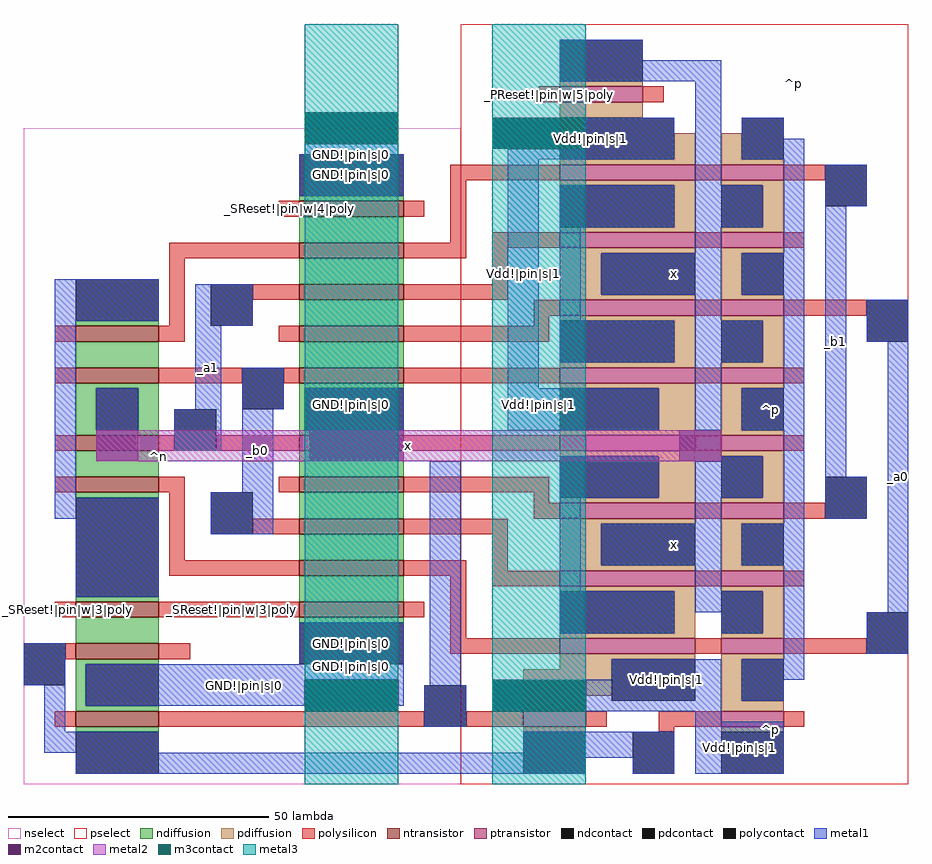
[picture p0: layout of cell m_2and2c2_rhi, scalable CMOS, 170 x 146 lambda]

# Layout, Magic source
magic
tech scmos
<< nselect >>
rect -81 29 3 155
<< pselect >>
rect 3 29 89 175
<< ndiffusion >>
rect -28 141 -8 142
rect -28 133 -8 138
rect -71 117 -55 118
rect -28 125 -8 130
rect -28 117 -8 122
rect -71 109 -55 114
rect -28 109 -8 114
rect -71 105 -55 106
rect -71 97 -67 105
rect -59 97 -55 105
rect -28 105 -8 106
rect -71 96 -55 97
rect -28 97 -27 105
rect -28 96 -8 97
rect -71 88 -55 93
rect -28 88 -8 93
rect -71 84 -55 85
rect -28 80 -8 85
rect -28 72 -8 77
rect -71 64 -55 65
rect -28 64 -8 69
rect -71 56 -55 61
rect -28 60 -8 61
rect -71 52 -55 53
rect -71 44 -69 52
rect -71 43 -55 44
rect -71 39 -55 40
<< pdiffusion >>
rect 22 163 38 164
rect 22 157 38 160
rect 44 149 48 154
rect 22 148 48 149
rect 53 149 57 154
rect 53 148 65 149
rect 22 144 48 145
rect 44 136 48 144
rect 22 135 48 136
rect 53 144 65 145
rect 61 136 65 144
rect 53 135 65 136
rect 22 131 48 132
rect 22 123 30 131
rect 22 122 48 123
rect 53 131 65 132
rect 53 123 57 131
rect 53 122 65 123
rect 22 118 48 119
rect 44 110 48 118
rect 22 109 48 110
rect 53 118 65 119
rect 61 110 65 118
rect 53 109 65 110
rect 22 105 48 106
rect 41 97 48 105
rect 22 96 48 97
rect 53 105 65 106
rect 53 97 57 105
rect 53 96 65 97
rect 22 92 48 93
rect 41 84 48 92
rect 22 83 48 84
rect 53 92 65 93
rect 61 84 65 92
rect 53 83 65 84
rect 22 79 48 80
rect 22 71 30 79
rect 22 70 48 71
rect 53 79 65 80
rect 53 71 57 79
rect 53 70 65 71
rect 22 66 48 67
rect 44 58 48 66
rect 22 57 48 58
rect 53 66 65 67
rect 61 58 65 66
rect 53 57 65 58
rect 22 53 48 54
rect 22 51 32 53
rect 15 46 32 51
rect 15 43 27 46
rect 53 53 65 54
rect 53 45 57 53
rect 53 43 65 45
rect 15 39 27 40
rect 53 39 65 40
<< ntransistor >>
rect -28 138 -8 141
rect -28 130 -8 133
rect -28 122 -8 125
rect -71 114 -55 117
rect -28 114 -8 117
rect -71 106 -55 109
rect -28 106 -8 109
rect -71 93 -55 96
rect -28 93 -8 96
rect -71 85 -55 88
rect -28 85 -8 88
rect -28 77 -8 80
rect -28 69 -8 72
rect -71 61 -55 64
rect -28 61 -8 64
rect -71 53 -55 56
rect -71 40 -55 43
<< ptransistor >>
rect 22 160 38 163
rect 22 145 48 148
rect 53 145 65 148
rect 22 132 48 135
rect 53 132 65 135
rect 22 119 48 122
rect 53 119 65 122
rect 22 106 48 109
rect 53 106 65 109
rect 22 93 48 96
rect 53 93 65 96
rect 22 80 48 83
rect 53 80 65 83
rect 22 67 48 70
rect 53 67 65 70
rect 22 54 48 57
rect 53 54 65 57
rect 15 40 27 43
rect 53 40 65 43
<< polysilicon >>
rect 18 160 22 163
rect 38 160 42 163
rect 1 145 22 148
rect 48 145 53 148
rect 65 145 73 148
rect -32 138 -28 141
rect -8 138 -4 141
rect 1 133 4 145
rect -53 130 -28 133
rect -8 130 4 133
rect 9 132 22 135
rect 48 132 53 135
rect 65 132 69 135
rect -53 117 -50 130
rect 9 125 12 132
rect -37 122 -28 125
rect -8 122 12 125
rect 17 119 22 122
rect 48 119 53 122
rect 65 119 81 122
rect 17 117 20 119
rect -75 114 -71 117
rect -55 114 -50 117
rect -32 114 -28 117
rect -8 114 20 117
rect -75 106 -71 109
rect -55 106 -39 109
rect -31 106 -28 109
rect -8 106 22 109
rect 48 106 53 109
rect 65 106 69 109
rect -75 93 -71 96
rect -55 93 -52 96
rect -44 93 -28 96
rect -8 93 22 96
rect 48 93 53 96
rect 65 93 69 96
rect -75 85 -71 88
rect -55 85 -50 88
rect -32 85 -28 88
rect -8 85 20 88
rect -53 72 -50 85
rect 17 83 20 85
rect 17 80 22 83
rect 48 80 53 83
rect 65 80 73 83
rect -37 77 -28 80
rect -8 77 12 80
rect -53 69 -28 72
rect -8 69 4 72
rect -75 61 -71 64
rect -55 61 -28 64
rect -8 61 -4 64
rect -73 53 -71 56
rect -55 53 -49 56
rect 1 57 4 69
rect 9 70 12 77
rect 9 67 22 70
rect 48 67 53 70
rect 65 67 69 70
rect 1 54 22 57
rect 48 54 53 57
rect 65 54 81 57
rect -75 40 -71 43
rect -55 40 -4 43
rect 4 40 15 43
rect 27 40 31 43
rect 41 40 53 43
rect 65 40 69 43
rect 41 39 44 40
<< ndcontact >>
rect -28 142 -8 150
rect -71 118 -55 126
rect -67 97 -59 105
rect -27 97 -8 105
rect -71 65 -55 84
rect -28 52 -8 60
rect -69 44 -55 52
rect -71 31 -55 39
<< pdcontact >>
rect 22 164 38 172
rect 22 149 44 157
rect 57 149 65 157
rect 22 136 44 144
rect 53 136 61 144
rect 30 123 48 131
rect 57 123 65 131
rect 22 110 44 118
rect 53 110 61 118
rect 22 97 41 105
rect 57 97 65 105
rect 22 84 41 92
rect 53 84 61 92
rect 30 71 48 79
rect 57 71 65 79
rect 22 58 44 66
rect 53 58 61 66
rect 32 45 48 53
rect 57 45 65 53
rect 15 31 27 39
rect 53 31 65 39
<< polycontact >>
rect 73 140 81 148
rect -45 117 -37 125
rect 81 114 89 122
rect -39 101 -31 109
rect -52 93 -44 101
rect -45 77 -37 85
rect 73 80 81 88
rect -81 48 -73 56
rect 81 54 89 62
rect -4 40 4 48
rect 36 31 44 39
<< metal1 >>
rect 22 168 38 172
rect 22 164 53 168
rect -27 150 -9 152
rect 27 151 44 157
rect -28 142 -8 150
rect 12 149 44 151
rect -75 118 -55 126
rect -75 84 -71 118
rect -48 117 -37 125
rect -67 97 -59 105
rect -48 101 -43 117
rect -52 93 -43 101
rect -39 101 -31 109
rect 12 105 18 149
rect 48 144 53 164
rect 57 153 65 157
rect 57 149 69 153
rect 22 136 44 144
rect 48 136 61 144
rect 22 118 26 136
rect 48 131 53 136
rect 65 131 69 149
rect 30 123 53 131
rect 57 123 69 131
rect 48 118 53 123
rect 22 110 44 118
rect 48 110 61 118
rect -39 85 -33 101
rect -27 97 -8 105
rect 12 97 41 105
rect 48 97 53 110
rect 65 105 69 123
rect 57 97 69 105
rect -75 80 -55 84
rect -71 65 -55 80
rect -45 77 -33 85
rect -81 48 -73 56
rect -28 52 -8 60
rect -77 39 -73 48
rect -69 49 -8 52
rect -69 44 -27 49
rect -9 44 -8 49
rect -3 48 3 91
rect 22 84 41 92
rect 53 91 61 92
rect 48 84 61 91
rect 22 66 26 84
rect 48 79 53 84
rect 65 79 69 97
rect 73 140 81 148
rect 73 88 77 140
rect 81 114 89 122
rect 73 80 81 88
rect 30 71 53 79
rect 57 71 69 79
rect 48 66 53 71
rect 22 58 44 66
rect 48 62 61 66
rect 53 58 61 62
rect 65 53 69 71
rect 85 62 89 114
rect 81 54 89 62
rect 32 49 53 53
rect -4 40 4 48
rect 27 43 53 49
rect 57 49 69 53
rect 57 45 65 49
rect 48 41 53 43
rect -77 35 -55 39
rect 15 35 44 39
rect -71 34 44 35
rect -71 31 27 34
rect 36 31 44 34
rect 48 31 65 41
<< m2contact >>
rect -27 152 -9 158
rect 9 151 27 157
rect -67 91 -59 97
rect -26 91 -8 97
rect -27 43 -9 49
rect 45 91 53 97
rect 9 43 27 49
<< metal2 >>
rect -67 91 53 97
<< m3contact >>
rect -27 152 -9 158
rect 9 151 27 157
rect -27 43 -9 49
rect 9 43 27 49
<< metal3 >>
rect -27 29 -9 175
rect 9 29 27 175
<< labels >>
rlabel metal1 44 127 44 127 1 x
rlabel metal1 44 75 44 75 5 x
rlabel metal1 85 54 89 122 7 _a0
rlabel metal1 73 80 77 148 1 _b1
rlabel metal1 -39 77 -33 109 1 _b0
rlabel metal1 -48 93 -43 125 1 _a1
rlabel metal2 -67 91 53 97 1 x
rlabel space -82 29 -28 155 7 ^n
rlabel space 44 152 90 175 3 ^p
rlabel space 35 51 90 151 3 ^p
rlabel space 35 29 90 50 3 ^p
rlabel metal3 -27 29 -9 175 1 GND!|pin|s|0
rlabel metal3 9 29 27 175 1 Vdd!|pin|s|1
rlabel metal1 -28 142 -8 150 1 GND!|pin|s|0
rlabel metal1 -27 142 -9 158 1 GND!|pin|s|0
rlabel metal1 -27 43 -9 60 1 GND!|pin|s|0
rlabel metal1 -28 52 -8 60 1 GND!|pin|s|0
rlabel metal1 -69 44 -8 52 1 GND!|pin|s|0
rlabel metal1 32 45 53 53 1 Vdd!|pin|s|1
rlabel metal1 48 31 65 41 1 Vdd!|pin|s|1
rlabel metal1 12 97 41 105 1 Vdd!|pin|s|1
rlabel metal1 12 97 18 157 1 Vdd!|pin|s|1
rlabel metal1 12 149 44 157 1 Vdd!|pin|s|1
rlabel polysilicon -75 61 -71 64 1 _SReset!|pin|w|3|poly
rlabel polysilicon -43 61 -39 64 1 _SReset!|pin|w|3|poly
rlabel polysilicon -32 138 -28 141 1 _SReset!|pin|w|4|poly
rlabel polysilicon -8 138 -4 141 1 _SReset!|pin|w|4|poly
rlabel polysilicon 18 160 22 163 1 _PReset!|pin|w|5|poly
rlabel polysilicon 38 160 42 163 1 _PReset!|pin|w|5|poly
<< end >>
